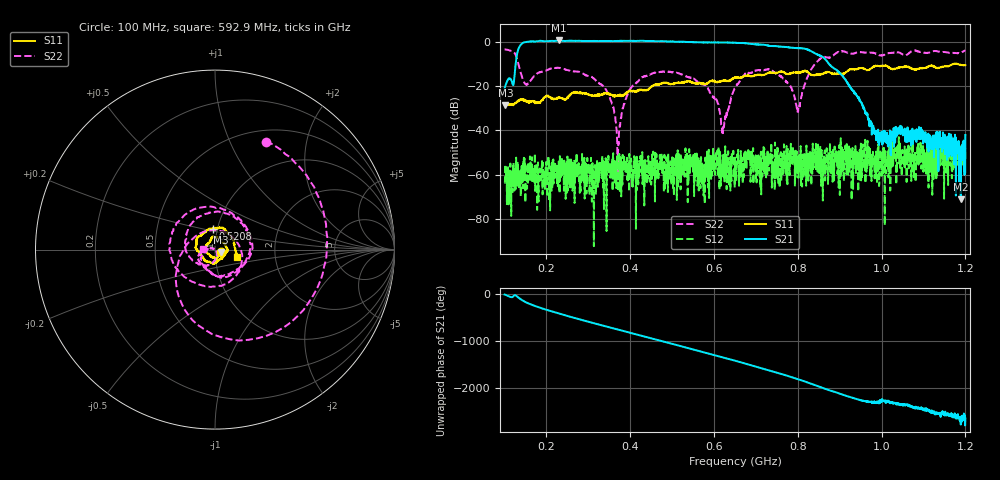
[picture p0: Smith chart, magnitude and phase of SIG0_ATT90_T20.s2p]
# Hz S DB R 50
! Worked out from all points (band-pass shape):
!   1601 points, 100 MHz to 1.2 GHz, reference 50 ohm
!   highest |S21| = 0.53 dB at 229.2 MHz (marker M1); lowest = -71.1 dB at 1.189 GHz (marker M2)
!   |S21| within 3 dB of the highest: 135 MHz to 773.9 MHz (638.9 MHz wide, 141 % of centre)
!   lowest |S11| = -28.7 dB at 102.1 MHz (marker M3), VSWR 1.08, Z = 53.5 - j1.49 ohm
!   |S11| at or under -10 dB: start of sweep to 1.172 GHz; 1.171931 GHz to 1.1729 GHz (968.7 kHz wide, 0.0826 % of centre); 1.18 GHz to end of sweep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
!   |S22| runs from -58.9 to -3.5 dB; largest |S21 - S12| = 1.1
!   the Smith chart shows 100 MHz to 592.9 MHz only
!   S11 on the Smith chart (normalised r, x): 100 MHz: 1.07, -0.03; 520.8 MHz: 0.95, +0.23; 592.9 MHz: 1.28, -0.11
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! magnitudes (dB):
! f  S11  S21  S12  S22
! 100 MHz  -28.5  -21.0  -63.7  -3.5
! 102.1 MHz  -28.7  -19.8  -57.6  -3.5
! 119.9 MHz  -28.1  -19.4  -62.0  -4.5
! 141.9 MHz  -26.1  -0.8  -55.4  -16.2
! 229.2 MHz  -25.5  0.5  -54.0  -11.8
! 283.6 MHz  -23.2  0.3  -62.2  -14.1
! 342 MHz  -23.4  0.3  -59.1  -21.6
! 370.9 MHz  -24.3  0.3  -67.5  -49.5
! 400.4 MHz  -22.3  0.3  -54.3  -20.9
! 467.1 MHz  -19.4  0.2  -61.5  -13.8
! 520.8 MHz  -18.6  0.0  -50.7  -14.7
! 592.9 MHz  -17.6  -0.4  -61.8  -23.9
! 621.8 MHz  -17.4  -0.4  -59.1  -39.8
! 650 MHz  -16.3  -0.5  -52.2  -20.7
! 733.2 MHz  -14.0  -1.9  -51.4  -12.6
! 800.6 MHz  -13.9  -2.9  -53.5  -31.5
! 833.6 MHz  -15.0  -4.5  -54.4  -12.0
! 901.6 MHz  -14.5  -14.4  -56.5  -4.4
! 1.017 GHz  -11.8  -42.8  -48.5  -5.2
! 1.045 GHz  -11.6  -37.9  -57.7  -5.1
! 1.189 GHz  -10.4  -71.1  -54.0  -4.9
! 1.2 GHz  -10.6  -42.0  -48.0  -3.9
